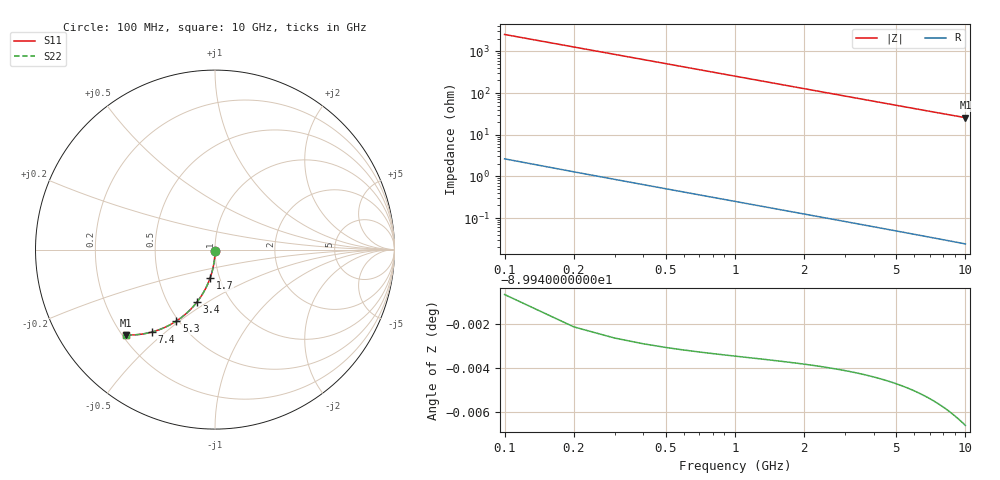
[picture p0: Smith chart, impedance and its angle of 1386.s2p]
# Hz S RI R 50.00
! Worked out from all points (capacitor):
!   100 points, 100 MHz to 10 GHz, reference 50 ohm
!   read as one part in shunt: C = 626 fF near 100 MHz
!   lowest |Z| = 25.7 ohm at 10 GHz (marker M1)
!   S11 on the Smith chart (normalised r, x): 100 MHz: 1.00, -0.02; 1.7 GHz: 0.90, -0.29; 3.4 GHz: 0.70, -0.45; 5.3 GHz: 0.49, -0.49; 7.4 GHz: 0.33, -0.45; 10 GHz: 0.21, -0.38
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1e8  -5.39e-05 -0.0096  0.9998 -0.0101  0.9998 -0.0101  -5.39e-05 -0.0096
2e8  -0.000353 -0.0192  0.9995 -0.0201  0.9995 -0.0201  -0.000353 -0.0192
3e8  -0.000846 -0.0288  0.999 -0.0302  0.999 -0.0302  -0.000846 -0.0288
4e8  -0.00153 -0.0383  0.9984 -0.0402  0.9984 -0.0402  -0.00153 -0.0383
5e8  -0.00241 -0.0479  0.9975 -0.0503  0.9975 -0.0503  -0.00241 -0.0479
6e8  -0.00348 -0.0574  0.9964 -0.0602  0.9964 -0.0602  -0.00348 -0.0574
8e8  -0.00618 -0.0763  0.9937 -0.0801  0.9937 -0.0801  -0.00618 -0.0763
1.1e9  -0.0116 -0.1044  0.9882 -0.1096  0.9882 -0.1096  -0.0116 -0.1044
1.4e9  -0.0187 -0.1319  0.9812 -0.1385  0.9812 -0.1385  -0.0187 -0.1319
1.7e9  -0.0273 -0.1588  0.9725 -0.1668  0.9725 -0.1668  -0.0273 -0.1588
1.8e9  -0.0306 -0.1676  0.9693 -0.1761  0.9693 -0.1761  -0.0306 -0.1676
2.1e9  -0.0412 -0.1934  0.9587 -0.2033  0.9587 -0.2033  -0.0412 -0.1934
2.5e9  -0.0574 -0.2263  0.9424 -0.2381  0.9424 -0.2381  -0.0574 -0.2263
2.9e9  -0.0757 -0.2574  0.924 -0.2711  0.924 -0.2711  -0.0757 -0.2574
3.4e9  -0.1013 -0.2933  0.8984 -0.3095  0.8984 -0.3095  -0.1013 -0.2933
4.2e9  -0.147 -0.3438  0.8527 -0.3638  0.8527 -0.3638  -0.147 -0.3438
5.1e9  -0.203 -0.3897  0.7966 -0.4141  0.7966 -0.4141  -0.203 -0.3897
5.3e9  -0.2158 -0.3984  0.7837 -0.4237  0.7837 -0.4237  -0.2158 -0.3984
6.7e9  -0.3063 -0.4445  0.693 -0.4767  0.693 -0.4767  -0.3063 -0.4445
7.4e9  -0.3506 -0.4589  0.6487 -0.4946  0.6487 -0.4946  -0.3506 -0.4589
8.4e9  -0.411 -0.4712  0.588 -0.512  0.588 -0.512  -0.411 -0.4712
1e10  -0.4985 -0.4751  0.5002 -0.5239  0.5002 -0.5239  -0.4985 -0.4751
